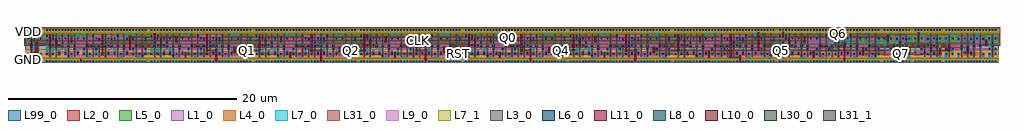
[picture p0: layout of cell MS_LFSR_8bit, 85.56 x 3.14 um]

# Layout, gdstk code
import gdstk
lib = gdstk.Library(unit=1e-6, precision=5e-10)
def R(c, l, rs):  # rectangles x0, y0, x1, y1
    for r in rs: c.add(gdstk.rectangle(r[:2], r[2:], *l))
def A(c, l, x, y, w, h, nx, ny, dx, dy):  # array of equal rectangles
    R(c, l, [(x+i*dx, y+j*dy, x+i*dx+w, y+j*dy+h) for i in range(nx) for j in range(ny)])
L1_0 = (1, 0)
L2_0 = (2, 0)
L3_0 = (3, 0)
L4_0 = (4, 0)
L5_0 = (5, 0)
L6_0 = (6, 0)
L7_0 = (7, 0)
L7_1 = (7, 1)
L8_0 = (8, 0)
L9_0 = (9, 0)
L10_0 = (10, 0)
L11_0 = (11, 0)
L30_0 = (30, 0)
L31_0 = (31, 0)
L31_1 = (31, 1)
L99_0 = (99, 0)

inv_clk = lib.new_cell('INV_CLK')
A(inv_clk, L1_0, 0.15, 0.52, 0.24, 0.24, 3, 1, 0.54, 0)
A(inv_clk, L1_0, 0.15, 1.76, 0.24, 0.48, 3, 1, 0.54, 0)
R(inv_clk, L1_0, [(0,-0.12,1.62,0.24), (0.39,0.52,0.69,0.76), (0.93,0.52,1.23,0.76), (0.39,1.76,0.69,2.24), (0.93,1.76,1.23,2.24), (0,2.52,1.62,2.88)])
R(inv_clk, L2_0, [(-0.12,1.38,1.74,3)])
R(inv_clk, L3_0, [(0.49,0.34,0.59,2.42), (1.03,0.34,1.13,2.42), (0.44,1.2,0.64,1.44), (0.98,1.2,1.18,1.44)])
R(inv_clk, L4_0, [(0,0.26,1.62,1.06), (-0.02,2.42,1.64,2.9)])
R(inv_clk, L5_0, [(-0.02,-0.14,1.64,0.26), (0,1.5,1.62,2.42)])
A(inv_clk, L6_0, 0.21, -0.06, 0.12, 0.12, 5, 2, 0.27, 2.76)
A(inv_clk, L6_0, 0.21, 0.58, 0.12, 0.12, 3, 2, 0.54, 1.36)
R(inv_clk, L6_0, [(0.48,1.26,0.6,1.38), (1.02,1.26,1.14,1.38)])
R(inv_clk, L7_0, [(0,-0.06,1.62,0.24), (0.195,0,0.345,0.76), (1.275,0,1.425,0.76), (0.465,0.37,0.615,1.56), (1.005,0.37,1.155,1.56), (0.735,0.52,0.885,2.12), (0.195,1.88,0.345,2.76), (1.275,1.88,1.425,2.76), (0,2.52,1.62,2.82)])
R(inv_clk, L7_1, [(0,0,1.62,0.24), (0.735,0.52,0.885,0.76), (0.465,1.2,0.615,1.44), (0,2.52,1.62,2.76)])
R(inv_clk, L8_0, [(0.47,0.43,0.61,0.57), (1.01,0.43,1.15,0.57), (0.74,0.72,0.88,0.86)])
R(inv_clk, L9_0, [(0.41,0.425,1.21,0.575), (0.53,0.715,1.09,0.865)])
R(inv_clk, L99_0, [(0,0,1.62,2.76)])
inv_clk.add(gdstk.Label('GND', (0.81,0.12), layer=7, texttype=3))
inv_clk.add(gdstk.Label('VDD', (0.81,2.64), layer=7, texttype=3))
inv_clk.add(gdstk.Label('A', (0.54,1.32), layer=7, texttype=3))
inv_clk.add(gdstk.Label('Y', (0.81,0.64), layer=7, texttype=3))

dff_ms_tmp = lib.new_cell('DFF_MS_TMP')
A(dff_ms_tmp, L1_0, 0.15, 0.52, 0.24, 0.24, 17, 1, 0.54, 0)
A(dff_ms_tmp, L1_0, 0.69, 1.76, 0.24, 0.48, 16, 1, 0.54, 0)
A(dff_ms_tmp, L1_0, 0.93, 1.76, 0.3, 0.48, 4, 1, 0.54, 0)
A(dff_ms_tmp, L1_0, 3.63, 1.76, 0.3, 0.48, 7, 1, 0.54, 0)
R(dff_ms_tmp, L1_0, [(0,-0.12,9.18,0.24), (0.39,0.52,0.69,0.76), (0.93,0.52,1.23,0.76), (4.71,0.52,5.01,0.76), (5.25,0.52,5.55,0.76), (2.01,0.58,2.31,0.7), (2.55,0.58,2.85,0.7), (3.63,0.58,3.93,0.7), (4.17,0.58,4.47,0.7), (6.33,0.58,6.63,0.7), (6.87,0.58,7.17,0.7), (7.95,0.58,8.25,0.7), (8.49,0.58,8.79,0.7), (7.95,1.76,8.25,2.24), (8.49,1.76,8.79,2.24), (0,2.52,9.18,2.88)])
R(dff_ms_tmp, L2_0, [(-0.12,1.38,9.3,3)])
A(dff_ms_tmp, L3_0, 0.44, 1.2, 0.2, 0.24, 5, 1, 0.54, 0)
A(dff_ms_tmp, L3_0, 3.68, 1.2, 0.2, 0.24, 7, 1, 0.54, 0)
R(dff_ms_tmp, L3_0, [(0.49,0.34,0.59,1.44), (1.03,0.34,1.13,2.42), (4.81,0.34,4.91,1.44), (5.35,0.34,5.45,2.42), (2.11,0.4,2.21,2.42), (2.65,0.4,2.75,2.42), (3.73,0.4,3.83,2.42), (4.27,0.4,4.37,2.42), (6.43,0.4,6.53,2.42), (6.97,0.4,7.07,2.42), (8.05,0.4,8.15,2.42), (8.59,0.4,8.69,2.42), (1.57,1.2,1.67,2.42), (5.89,1.2,5.99,2.42), (8,1.2,8.2,1.44), (8.54,1.2,8.74,1.44)])
R(dff_ms_tmp, L4_0, [(0,0.26,9.18,1.06), (-0.02,2.42,9.2,2.9)])
R(dff_ms_tmp, L5_0, [(-0.02,-0.14,9.2,0.26), (0,1.5,9.18,2.42)])
A(dff_ms_tmp, L6_0, 0.21, -0.06, 0.12, 0.12, 33, 2, 0.27, 2.76)
A(dff_ms_tmp, L6_0, 0.21, 0.58, 0.12, 0.12, 17, 1, 0.54, 0)
A(dff_ms_tmp, L6_0, 0.48, 1.26, 0.12, 0.12, 5, 1, 0.54, 0)
A(dff_ms_tmp, L6_0, 3.72, 1.26, 0.12, 0.12, 7, 1, 0.54, 0)
A(dff_ms_tmp, L6_0, 0.75, 1.94, 0.12, 0.12, 3, 1, 0.54, 0)
A(dff_ms_tmp, L6_0, 3.45, 1.94, 0.12, 0.12, 3, 1, 1.08, 0)
R(dff_ms_tmp, L6_0, [(8.04,1.26,8.16,1.38), (8.58,1.26,8.7,1.38), (2.91,1.94,3.03,2.06), (6.15,1.94,6.27,2.06), (7.23,1.94,7.35,2.06), (7.77,1.94,7.89,2.06), (8.85,1.94,8.97,2.06)])
R(dff_ms_tmp, L7_0, [(0,-0.06,9.18,0.24), (2.355,0,2.505,0.76), (3.975,0,4.125,0.76), (6.675,0,6.825,0.76), (8.295,0,8.445,0.76), (2.085,0.37,2.235,1.56), (8.565,0.37,8.715,1.56), (1.275,0.48,1.425,0.96), (2.895,0.48,3.045,0.96), (5.595,0.48,5.745,0.96), (7.215,0.48,7.365,0.96), (0.195,0.52,0.345,2.37), (0.735,0.52,0.885,1.5), (1.815,0.52,1.965,2.12), (3.435,0.52,3.585,1.21), (4.515,0.52,4.665,2.12), (5.055,0.52,5.205,1.5), (6.135,0.52,6.285,2.12), (7.755,0.52,7.905,1.21), (8.835,0.52,8.985,2.12), (2.625,0.95,2.775,1.56), (6.945,0.95,7.095,1.56), (0.465,1.08,0.615,1.79), (1.005,1.08,1.155,2.08), (1.545,1.08,1.695,1.79), (3.705,1.08,3.855,1.56), (4.245,1.08,4.395,2.37), (4.785,1.08,4.935,2.08), (5.325,1.08,5.475,1.79), (5.865,1.08,6.015,2.08), (6.405,1.08,6.555,2.37), (8.025,1.08,8.175,1.56), (1.275,1.24,1.425,2.12), (5.595,1.24,5.745,2.12), (0.735,1.88,0.885,2.37), (2.895,1.88,3.045,2.76), (3.435,1.88,3.585,2.76), (7.215,1.88,7.365,2.76), (7.755,1.88,7.905,2.76), (0,2.52,9.18,2.82)])
R(dff_ms_tmp, L7_1, [(0,0,9.18,0.24), (0.195,0.52,0.345,0.76), (7.755,0.52,7.905,0.76), (1.545,1.2,1.695,1.44), (2.085,1.2,2.235,1.44), (4.245,1.2,4.395,1.44), (4.785,1.2,4.935,1.44), (0,2.52,9.18,2.76)])
R(dff_ms_tmp, L8_0, [(2.09,0.43,2.23,0.57), (8.57,0.43,8.71,0.57), (1.28,0.72,1.42,0.86), (1.82,0.72,1.96,0.86), (2.9,0.72,3.04,0.86), (5.6,0.72,5.74,0.86), (6.14,0.72,6.28,0.86), (7.22,0.72,7.36,0.86), (2.63,1.01,2.77,1.15), (3.44,1.01,3.58,1.15), (4.52,1.01,4.66,1.15), (6.95,1.01,7.09,1.15), (7.76,1.01,7.9,1.15), (8.84,1.01,8.98,1.15), (0.74,1.3,0.88,1.44), (1.28,1.3,1.42,1.44), (3.71,1.3,3.85,1.44), (5.06,1.3,5.2,1.44), (5.6,1.3,5.74,1.44), (8.03,1.3,8.17,1.44), (0.47,1.59,0.61,1.73), (1.55,1.59,1.69,1.73), (5.33,1.59,5.47,1.73), (1.01,1.88,1.15,2.02), (4.79,1.88,4.93,2.02), (5.87,1.88,6.01,2.02), (0.2,2.17,0.34,2.31), (0.74,2.17,0.88,2.31), (4.25,2.17,4.39,2.31), (6.41,2.17,6.55,2.31)])
R(dff_ms_tmp, L9_0, [(2.03,0.425,8.77,0.575), (1.22,0.715,3.1,0.865), (5.54,0.715,7.42,0.865), (2.57,1.005,4.72,1.155), (6.89,1.005,9.04,1.155), (0.68,1.295,3.91,1.445), (5,1.295,8.23,1.445), (0.41,1.585,5.53,1.735), (0.95,1.875,6.07,2.025), (0.14,2.165,0.94,2.315), (4.19,2.165,6.61,2.315)])
R(dff_ms_tmp, L99_0, [(0,0,9.18,2.76)])
dff_ms_tmp.add(gdstk.Label('GND', (4.59,0.12), layer=7, texttype=3))
dff_ms_tmp.add(gdstk.Label('VDD', (4.59,2.64), layer=7, texttype=3))
dff_ms_tmp.add(gdstk.Label('D', (0.27,0.64), layer=7, texttype=3))
dff_ms_tmp.add(gdstk.Label('CLKB', (1.62,1.32), layer=7, texttype=3))
dff_ms_tmp.add(gdstk.Label('CLK', (4.86,1.32), layer=7, texttype=3))
dff_ms_tmp.add(gdstk.Label('RST', (2.16,1.32), layer=7, texttype=3))
dff_ms_tmp.add(gdstk.Label('SET', (4.32,1.32), layer=7, texttype=3))
dff_ms_tmp.add(gdstk.Label('Q', (7.83,0.64), layer=7, texttype=3))

xor2_tg6 = lib.new_cell('XOR2_TG6')
A(xor2_tg6, L1_0, 0.15, 0.52, 0.24, 0.24, 5, 1, 0.54, 0)
R(xor2_tg6, L1_0, [(0,-0.12,2.7,0.24), (0.39,0.52,0.69,0.76), (1.47,0.52,1.77,0.76), (0.93,0.58,1.23,0.7), (2.01,0.58,2.31,0.7), (1.23,1.76,1.47,2.24), (1.47,1.76,1.77,2.24), (1.77,1.76,2.01,2.24), (0.15,1.88,0.39,2.12), (0.39,1.88,0.69,2.12), (0.69,1.88,0.93,2.12), (2.01,1.88,2.31,2.12), (2.31,1.88,2.55,2.12), (0,2.52,2.7,2.88)])
R(xor2_tg6, L2_0, [(-0.12,1.38,2.82,3)])
A(xor2_tg6, L3_0, 0.44, 1.2, 0.2, 0.24, 4, 1, 0.54, 0)
R(xor2_tg6, L3_0, [(1.57,0.34,1.67,2.42), (1.03,0.4,1.13,1.44), (2.11,0.4,2.21,2.3), (0.49,1.2,0.59,2.3)])
R(xor2_tg6, L4_0, [(0,0.26,2.7,1), (-0.02,2.42,2.72,2.9)])
R(xor2_tg6, L5_0, [(-0.02,-0.14,2.72,0.26), (0,1.5,2.7,2.42)])
A(xor2_tg6, L6_0, 0.21, -0.06, 0.12, 0.12, 9, 2, 0.27, 2.76)
A(xor2_tg6, L6_0, 0.75, 0.58, 0.12, 0.12, 4, 1, 0.54, 0)
A(xor2_tg6, L6_0, 0.48, 1.26, 0.12, 0.12, 4, 1, 0.54, 0)
A(xor2_tg6, L6_0, 0.21, 1.94, 0.12, 0.12, 5, 1, 0.54, 0)
R(xor2_tg6, L7_0, [(0,-0.06,2.7,0.24), (2.355,0,2.505,0.76), (1.815,0.48,1.965,0.96), (0.735,0.52,0.885,1.21), (1.275,0.52,1.425,1.5), (0.195,0.66,0.345,2.12), (1.005,0.66,1.155,1.44), (1.545,0.95,1.695,1.44), (2.355,0.95,2.505,2.12), (0.465,1.2,0.615,2.08), (2.085,1.2,2.235,2.08), (1.815,1.24,1.965,2.12), (1.275,1.73,1.425,2.21), (0.735,1.88,0.885,2.76), (0,2.52,2.7,2.82)])
R(xor2_tg6, L7_1, [(0,0,2.7,0.24), (2.355,1.19,2.505,1.46), (0.465,1.3,0.615,1.57), (1.815,1.3,1.965,1.57), (0,2.52,2.7,2.76)])
A(xor2_tg6, L8_0, 0.2, 0.72, 0.14, 0.14, 3, 1, 0.81, 0)
A(xor2_tg6, L8_0, 0.74, 1.01, 0.14, 0.14, 3, 1, 0.81, 0)
A(xor2_tg6, L8_0, 0.47, 1.88, 0.14, 0.14, 3, 1, 0.81, 0)
R(xor2_tg6, L8_0, [(1.28,1.3,1.42,1.44), (1.82,1.3,1.96,1.44)])
R(xor2_tg6, L9_0, [(0.14,0.715,2.02,0.865), (0.68,1.005,2.56,1.155), (1.22,1.295,2.02,1.445), (0.41,1.875,2.29,2.025)])
R(xor2_tg6, L99_0, [(0,0,2.7,2.76)])
xor2_tg6.add(gdstk.Label('Y', (1.89,1.435), layer=7, texttype=3))
xor2_tg6.add(gdstk.Label('B', (2.43,1.325), layer=7, texttype=3))
xor2_tg6.add(gdstk.Label('A', (0.54,1.435), layer=7, texttype=3))
xor2_tg6.add(gdstk.Label('VDD', (1.35,2.64), layer=7, texttype=3))
xor2_tg6.add(gdstk.Label('GND', (1.35,0.12), layer=7, texttype=3))

xor2_x1 = lib.new_cell('XOR2_X1')
A(xor2_x1, L1_0, 0.15, 0.52, 0.24, 0.24, 9, 1, 0.54, 0)
A(xor2_x1, L1_0, 1.47, 0.52, 0.3, 0.24, 4, 1, 0.54, 0)
A(xor2_x1, L1_0, 1.23, 1.76, 0.24, 0.48, 5, 1, 0.54, 0)
A(xor2_x1, L1_0, 1.47, 1.76, 0.3, 0.48, 4, 1, 0.54, 0)
R(xor2_x1, L1_0, [(0,-0.12,4.86,0.24), (0.39,0.58,0.69,0.7), (4.17,0.58,4.47,0.7), (0.15,1.88,0.39,2.12), (0.39,1.88,0.69,2.12), (0.69,1.88,0.93,2.12), (3.93,1.88,4.17,2.12), (4.17,1.88,4.47,2.12), (4.47,1.88,4.71,2.12), (0,2.52,4.86,2.88)])
R(xor2_x1, L2_0, [(-0.12,1.38,4.98,3)])
A(xor2_x1, L3_0, 1.57, 0.34, 0.1, 2.08, 4, 1, 0.54, 0)
A(xor2_x1, L3_0, 1.52, 1.2, 0.2, 0.24, 4, 1, 0.54, 0)
R(xor2_x1, L3_0, [(0.49,0.4,0.59,2.3), (4.27,0.4,4.37,2.3), (0.44,1.2,0.64,1.44), (4.22,1.2,4.42,1.44)])
R(xor2_x1, L4_0, [(0,0.26,4.86,1), (-0.02,2.42,4.88,2.9)])
R(xor2_x1, L5_0, [(-0.02,-0.14,4.88,0.26), (0,1.5,4.86,2.42)])
A(xor2_x1, L6_0, 0.21, -0.06, 0.12, 0.12, 17, 2, 0.27, 2.76)
A(xor2_x1, L6_0, 0.21, 0.58, 0.12, 0.12, 3, 1, 0.54, 0)
A(xor2_x1, L6_0, 3.45, 0.58, 0.12, 0.12, 3, 1, 0.54, 0)
A(xor2_x1, L6_0, 1.56, 1.26, 0.12, 0.12, 4, 1, 0.54, 0)
A(xor2_x1, L6_0, 0.21, 1.94, 0.12, 0.12, 9, 1, 0.54, 0)
R(xor2_x1, L6_0, [(2.37,0.58,2.49,0.7), (0.48,1.26,0.6,1.38), (4.26,1.26,4.38,1.38)])
A(xor2_x1, L7_0, 1.275, 1.73, 0.15, 0.48, 3, 1, 1.08, 0)
R(xor2_x1, L7_0, [(0,-0.06,4.86,0.24), (0.195,0,0.345,0.76), (1.275,0,1.425,0.76), (3.435,0,3.585,0.76), (3.975,0,4.125,0.76), (2.355,0.48,2.505,0.96), (0.735,0.52,0.885,1.21), (4.515,0.52,4.665,1.21), (1.815,0.66,1.965,2.12), (0.195,0.95,0.345,2.12), (1.545,0.95,1.695,1.44), (2.085,0.95,2.235,1.44), (3.975,0.95,4.125,2.12), (0.465,1.11,0.615,1.59), (3.165,1.11,3.315,1.59), (2.625,1.2,2.775,1.79), (4.245,1.2,4.395,1.79), (0.735,1.88,0.885,2.76), (2.895,1.88,3.045,2.76), (4.515,1.88,4.665,2.76), (0,2.52,4.86,2.82)])
R(xor2_x1, L7_1, [(0,0,4.86,0.24), (2.355,0.59,2.505,0.86), (0.465,1.3,0.615,1.57), (4.245,1.3,4.395,1.57), (0,2.52,4.86,2.76)])
A(xor2_x1, L8_0, 1.28, 1.88, 0.14, 0.14, 3, 1, 1.08, 0)
R(xor2_x1, L8_0, [(1.82,0.72,1.96,0.86), (2.36,0.72,2.5,0.86), (0.2,1.01,0.34,1.15), (0.74,1.01,0.88,1.15), (1.55,1.01,1.69,1.15), (2.09,1.01,2.23,1.15), (3.98,1.01,4.12,1.15), (4.52,1.01,4.66,1.15), (0.47,1.3,0.61,1.44), (3.17,1.3,3.31,1.44), (2.63,1.59,2.77,1.73), (4.25,1.59,4.39,1.73)])
R(xor2_x1, L9_0, [(1.76,0.715,2.56,0.865), (0.14,1.005,1.75,1.155), (2.03,1.005,4.72,1.155), (0.41,1.295,3.37,1.445), (2.57,1.585,4.45,1.735), (1.22,1.875,3.64,2.025)])
R(xor2_x1, L99_0, [(0,0,4.86,2.76)])
xor2_x1.add(gdstk.Label('Y', (2.43,0.725), layer=7, texttype=3))
xor2_x1.add(gdstk.Label('B', (0.54,1.435), layer=7, texttype=3))
xor2_x1.add(gdstk.Label('A', (4.32,1.435), layer=7, texttype=3))
xor2_x1.add(gdstk.Label('VDD', (2.43,2.64), layer=7, texttype=3))
xor2_x1.add(gdstk.Label('GND', (2.43,0.12), layer=7, texttype=3))

ms_lfsr_8bit = lib.new_cell('MS_LFSR_8bit')
R(ms_lfsr_8bit, L7_0, [(0,0,0.56,0.24), (0,2.52,0.56,2.76)])
R(ms_lfsr_8bit, L7_1, [(0,0,0.56,0.24), (0,2.52,0.56,2.76)])
A(ms_lfsr_8bit, L8_0, 16.67, 0.05, 0.14, 0.14, 7, 1, 9.18, 0)
R(ms_lfsr_8bit, L8_0, [(4.79,0.05,4.93,0.19)])
A(ms_lfsr_8bit, L9_0, 16.46, 0.045, 0.56, 0.15, 7, 1, 9.18, 0)
R(ms_lfsr_8bit, L9_0, [(4.58,0.045,5.14,0.195), (4.785,0.045,4.935,0.575)])
A(ms_lfsr_8bit, L10_0, 16.67, 0.05, 0.14, 0.14, 7, 1, 9.18, 0)
A(ms_lfsr_8bit, L10_0, 13.97, 0.43, 0.14, 0.14, 7, 1, 9.18, 0)
A(ms_lfsr_8bit, L10_0, 9.11, 1.01, 0.14, 0.14, 8, 1, 9.18, 0)
A(ms_lfsr_8bit, L10_0, 2.63, 1.59, 0.14, 0.14, 8, 1, 9.18, 0)
A(ms_lfsr_8bit, L10_0, 3.98, 1.88, 0.14, 0.14, 8, 1, 9.18, 0)
A(ms_lfsr_8bit, L10_0, 2.09, 2.17, 0.14, 0.14, 16, 1, 4.59, 0)
R(ms_lfsr_8bit, L10_0, [(0.47,0.43,0.61,0.57), (0.89,0.72,1.03,0.86), (82.55,0.72,82.69,0.86), (77.42,1.01,77.56,1.15), (80.12,1.01,80.26,1.15), (76.61,1.3,76.75,1.44), (79.31,1.3,79.45,1.44), (80.93,1.3,81.07,1.44), (84.17,1.59,84.31,1.73), (75.53,1.88,75.67,2.02), (78.23,1.88,78.37,2.02)])
A(ms_lfsr_8bit, L11_0, 16.665, -0.01, 0.15, 1.1, 5, 1, 9.18, 0)
A(ms_lfsr_8bit, L11_0, 13.965, 0.315, 0.15, 0.54, 7, 1, 9.18, 0)
A(ms_lfsr_8bit, L11_0, 18.285, 0.75, 0.15, 0.54, 5, 1, 9.18, 0)
A(ms_lfsr_8bit, L11_0, 15.855, 0.83, 0.15, 1.54, 10, 1, 4.59, 0)
A(ms_lfsr_8bit, L11_0, 2.625, 1.33, 0.15, 0.54, 8, 1, 9.18, 0)
A(ms_lfsr_8bit, L11_0, 3.975, 1.62, 0.15, 0.54, 8, 1, 9.18, 0)
R(ms_lfsr_8bit, L11_0, [(62.565,-0.02,62.715,0.52), (71.745,-0.01,71.895,1.67), (61.755,0.25,61.905,2.37), (0.465,0.37,0.615,1.96), (6.675,0.54,6.825,2.37), (73.365,0.54,73.515,1.21), (80.115,0.54,80.265,1.21), (0.885,0.66,1.035,1.67), (82.545,0.66,82.695,1.38), (77.415,0.75,77.565,1.29), (79.305,0.83,79.455,1.5), (80.925,0.83,81.075,1.5), (9.105,0.95,9.255,2.25), (64.185,0.95,64.335,2.54), (2.085,1.12,2.235,2.37), (76.605,1.185,76.755,1.725), (84.165,1.33,84.315,1.87), (70.935,1.41,71.085,2.37), (75.525,1.765,75.675,2.305), (78.225,1.82,78.375,2.54), (11.265,1.91,11.415,2.45), (66.345,2.055,66.495,2.595)])
A(ms_lfsr_8bit, L30_0, 13.97, 0.6, 0.14, 0.14, 7, 1, 9.18, 0)
A(ms_lfsr_8bit, L30_0, 2.63, 1.47, 0.14, 0.14, 8, 1, 9.18, 0)
A(ms_lfsr_8bit, L30_0, 3.98, 1.76, 0.14, 0.14, 8, 1, 9.18, 0)
R(ms_lfsr_8bit, L30_0, [(61.76,0.31,61.9,0.45), (62.57,0.31,62.71,0.45), (6.68,0.6,6.82,0.74), (73.37,0.6,73.51,0.74), (80.12,0.6,80.26,0.74), (15.86,0.89,16,1.03), (16.67,0.89,16.81,1.03), (18.29,0.89,18.43,1.03), (20.45,0.89,20.59,1.03), (25.04,0.89,25.18,1.03), (25.85,0.89,25.99,1.03), (27.47,0.89,27.61,1.03), (29.63,0.89,29.77,1.03), (34.22,0.89,34.36,1.03), (35.03,0.89,35.17,1.03), (36.65,0.89,36.79,1.03), (38.81,0.89,38.95,1.03), (43.4,0.89,43.54,1.03), (44.21,0.89,44.35,1.03), (45.83,0.89,45.97,1.03), (47.99,0.89,48.13,1.03), (52.58,0.89,52.72,1.03), (53.39,0.89,53.53,1.03), (55.01,0.89,55.15,1.03), (57.17,0.89,57.31,1.03), (77.42,0.89,77.56,1.03), (79.31,0.89,79.45,1.03), (80.93,0.89,81.07,1.03), (2.09,1.18,2.23,1.32), (82.55,1.18,82.69,1.32), (0.89,1.47,1.03,1.61), (70.94,1.47,71.08,1.61), (71.75,1.47,71.89,1.61), (76.61,1.47,76.75,1.61), (84.17,1.47,84.31,1.61), (0.47,1.76,0.61,1.9), (9.11,2.05,9.25,2.19), (11.27,2.05,11.41,2.19), (75.53,2.05,75.67,2.19), (64.19,2.34,64.33,2.48), (66.35,2.34,66.49,2.48), (78.23,2.34,78.37,2.48)])
A(ms_lfsr_8bit, L31_0, 15.8, 0.885, 1.07, 0.15, 5, 1, 9.18, 0)
A(ms_lfsr_8bit, L31_0, 18.23, 0.885, 2.42, 0.15, 4, 1, 9.18, 0)
R(ms_lfsr_8bit, L31_0, [(61.7,0.305,62.77,0.455), (6.62,0.595,69.25,0.745), (73.31,0.595,80.32,0.745), (54.95,0.885,77.62,1.035), (79.25,0.885,81.13,1.035), (2.03,1.175,82.75,1.325), (0.83,1.465,67.09,1.615), (70.88,1.465,71.95,1.615), (76.55,1.465,84.37,1.615), (0.41,1.755,68.44,1.905), (9.05,2.045,75.73,2.195), (64.13,2.335,78.43,2.485)])
A(ms_lfsr_8bit, L31_1, 19.365, 0.885, 0.15, 0.15, 4, 1, 9.18, 0)
R(ms_lfsr_8bit, L31_1, [(37.86,0.595,38.01,0.745), (76.74,0.595,76.89,0.745), (66.21,0.885,66.36,1.035), (34.35,1.755,34.5,1.905), (42.315,2.045,42.465,2.195), (71.205,2.335,71.355,2.485)])
R(ms_lfsr_8bit, L99_0, [(0,0,85.32,2.76)])
ms_lfsr_8bit.add(gdstk.Reference(inv_clk, (0,0)))
ms_lfsr_8bit.add(gdstk.Reference(dff_ms_tmp, (1.62,0)))
ms_lfsr_8bit.add(gdstk.Reference(dff_ms_tmp, (10.8,0)))
ms_lfsr_8bit.add(gdstk.Reference(dff_ms_tmp, (19.98,0)))
ms_lfsr_8bit.add(gdstk.Reference(dff_ms_tmp, (29.16,0)))
ms_lfsr_8bit.add(gdstk.Reference(dff_ms_tmp, (38.34,0)))
ms_lfsr_8bit.add(gdstk.Reference(dff_ms_tmp, (47.52,0)))
ms_lfsr_8bit.add(gdstk.Reference(dff_ms_tmp, (56.7,0)))
ms_lfsr_8bit.add(gdstk.Reference(dff_ms_tmp, (65.88,0)))
ms_lfsr_8bit.add(gdstk.Reference(xor2_tg6, (75.06,0)))
ms_lfsr_8bit.add(gdstk.Reference(xor2_tg6, (77.76,0)))
ms_lfsr_8bit.add(gdstk.Reference(xor2_x1, (80.46,0)))
ms_lfsr_8bit.add(gdstk.Label('CLK', (34.425,1.83), layer=31, texttype=3))
ms_lfsr_8bit.add(gdstk.Label('RST', (37.935,0.67), layer=31, texttype=3))
ms_lfsr_8bit.add(gdstk.Label('Q0', (42.39,2.12), layer=31, texttype=3))
ms_lfsr_8bit.add(gdstk.Label('Q1', (19.44,0.96), layer=31, texttype=3))
ms_lfsr_8bit.add(gdstk.Label('Q2', (28.62,0.96), layer=31, texttype=3))
ms_lfsr_8bit.add(gdstk.Label('Q3', (37.8,0.96), layer=31, texttype=3))
ms_lfsr_8bit.add(gdstk.Label('Q4', (46.98,0.96), layer=31, texttype=3))
ms_lfsr_8bit.add(gdstk.Label('Q5', (66.285,0.96), layer=31, texttype=3))
ms_lfsr_8bit.add(gdstk.Label('Q6', (71.28,2.41), layer=31, texttype=3))
ms_lfsr_8bit.add(gdstk.Label('Q7', (76.815,0.67), layer=31, texttype=3))
ms_lfsr_8bit.add(gdstk.Label('GND', (0.28,0.12), layer=7, texttype=3))
ms_lfsr_8bit.add(gdstk.Label('VDD', (0.28,2.64), layer=7, texttype=3))

lib.write_gds('MS_LFSR_8bit.gds')
